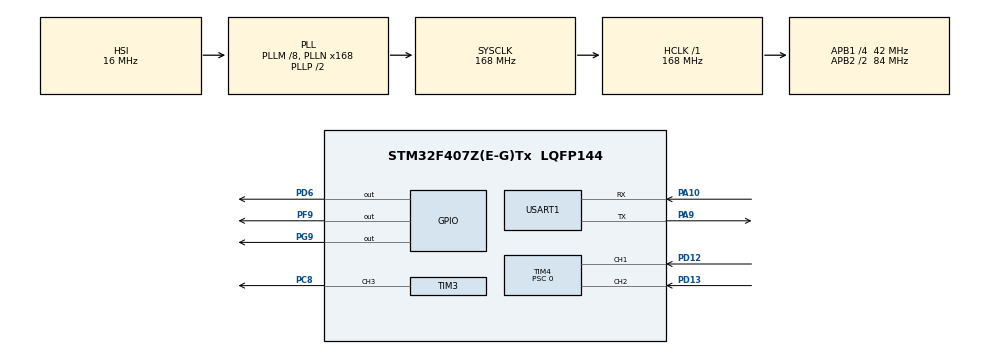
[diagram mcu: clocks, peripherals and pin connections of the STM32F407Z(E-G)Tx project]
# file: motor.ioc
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Mcu.Family=STM32F4
Mcu.Name=STM32F407Z(E-G)Tx
Mcu.Package=LQFP144
NVIC.PriorityGroup=NVIC_PRIORITYGROUP_4
NVIC.TIM2_IRQn=true\:0\:0\:false\:false\:true\:true\:true\:true
NVIC.TIM4_IRQn=true\:0\:0\:false\:false\:true\:true\:true\:true
NVIC.USART1_IRQn=true\:0\:0\:false\:false\:true\:true\:true\:true
PA10.Mode=Asynchronous
PA10.Signal=USART1_RX
PA13.Mode=Serial_Wire
PA13.Signal=SYS_JTMS-SWDIO
PA14.Mode=Serial_Wire
PA14.Signal=SYS_JTCK-SWCLK
PA9.Mode=Asynchronous
PA9.Signal=USART1_TX
PC8.Signal=S_TIM3_CH3
PD12.GPIO_Speed=GPIO_SPEED_FREQ_VERY_HIGH
PD12.Signal=S_TIM4_CH1
PD13.GPIO_Speed=GPIO_SPEED_FREQ_VERY_HIGH
PD13.Signal=S_TIM4_CH2
PD6.Signal=GPIO_Output
PF9.Signal=GPIO_Output
PG9.Signal=GPIO_Output
PH0-OSC_IN.Mode=HSE-External-Oscillator
PH0-OSC_IN.Signal=RCC_OSC_IN
PH1-OSC_OUT.Mode=HSE-External-Oscillator
PH1-OSC_OUT.Signal=RCC_OSC_OUT
ProjectManager.HeapSize=0x200
ProjectManager.StackSize=0x400
ProjectManager.TargetToolchain=MDK-ARM V5.32
RCC.48MHZClocksFreq_Value=84000000
RCC.AHBFreq_Value=168000000
RCC.APB1CLKDivider=RCC_HCLK_DIV4
RCC.APB1Freq_Value=42000000
RCC.APB1TimFreq_Value=84000000
RCC.APB2CLKDivider=RCC_HCLK_DIV2
RCC.APB2Freq_Value=84000000
RCC.APB2TimFreq_Value=168000000
RCC.CortexFreq_Value=168000000
RCC.HCLKFreq_Value=168000000
RCC.HSE_VALUE=25000000
RCC.HSI_VALUE=16000000
RCC.LSE_VALUE=32768
RCC.PLLM=8
RCC.PLLN=168
RCC.SYSCLKFreq_VALUE=168000000
RCC.SYSCLKSource=RCC_SYSCLKSOURCE_PLLCLK
RCC.VCOOutputFreq_Value=336000000
SH.S_TIM3_CH3.0=TIM3_CH3,PWM Generation3 CH3
SH.S_TIM4_CH1.0=TIM4_CH1,Encoder_Interface
SH.S_TIM4_CH2.0=TIM4_CH2,Encoder_Interface
TIM2.Period=19999
TIM2.Prescaler=83
TIM3.Channel-PWM\ Generation3\ CH3=TIM_CHANNEL_3
TIM3.Period=999
TIM3.Prescaler=167
TIM4.EncoderMode=TIM_ENCODERMODE_TI12
TIM4.IC1Filter=10
TIM4.Prescaler=0
USART1.VirtualMode=VM_ASYNC
VP_TIM2_VS_ClockSourceINT.Mode=Internal
board=custom

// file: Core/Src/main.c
/* USER CODE BEGIN Header */
/**
  ******************************************************************************
  * @file           : main.c
  * @brief          : Main program body
  ******************************************************************************
  * @attention
  *
  * Copyright (c) 2023 STMicroelectronics.
  * All rights reserved.
  *
  * This software is licensed under terms that can be found in the LICENSE file
  * in the root directory of this software component.
  * If no LICENSE file comes with this software, it is provided AS-IS.
  *
  ******************************************************************************
  */
/* USER CODE END Header */
#include "main.h"

/* USER CODE BEGIN PTD */
typedef struct _Motor
{
		int32_t Duty;   //(0-2100)  ???
    int32_t lastCount;   // ??????????
    int32_t totalCount;  // ??????????--??
    int16_t overflowNum; // ???????
    float speed;         //  ??
    uint8_t direct;      //  ??
		int16_t position;    //  ??
}Motor;
Motor motor1;
/* USER CODE END PTD */

/* USER CODE BEGIN PD */
int PID(float setValue,float realValue);

/* USER CODE END PD */

TIM_HandleTypeDef htim2;
TIM_HandleTypeDef htim3;
TIM_HandleTypeDef htim4;

UART_HandleTypeDef huart1;

/* USER CODE BEGIN PV */
uint8_t start_buffer[1] = {0xaa};
union FloatToChar {
    float floatValue;
    unsigned char charArray[4];
};

float Kp= 0.1,Ki,Kd;
float PID_buufer[2] = {0};
float test_goal=0;
float cal_rate = 0.83;
int NUM;
int a;
int RXFLAG=0;
uint8_t RXBUFFER[2]={0,0};
int32_t encoder_counter = 0;  //????
int8_t encoder_direction = 0;   //????
#define RELOADVALUE __HAL_TIM_GetAutoreload(&htim4)    //
#define COUNTERNUM __HAL_TIM_GetCounter(&htim4)  //
#define MOTOR_SPEED_RERATIO 20.4    //
#define PULSE_PRE_ROUND 11 //
/* USER CODE END PV */

void SystemClock_Config(void);
static void MX_GPIO_Init(void);
static void MX_TIM3_Init(void);
static void MX_USART1_UART_Init(void);
static void MX_TIM2_Init(void);
static void MX_TIM4_Init(void);

/* USER CODE BEGIN 0 */
void set_motor(int rot, uint8_t speed);

/* USER CODE END 0 */

int main(void)
{

  /* MCU Configuration--------------------------------------------------------*/

  /* Reset of all peripherals, Initializes the Flash interface and the Systick. */
  HAL_Init();

  /* Configure the system clock */
  SystemClock_Config();

  /* Initialize all configured peripherals */
  MX_GPIO_Init();
  MX_TIM3_Init();
  MX_USART1_UART_Init();
  MX_TIM2_Init();
  MX_TIM4_Init();
  /* USER CODE BEGIN 2 */
	HAL_TIM_PWM_Start(&htim3,TIM_CHANNEL_3);

	HAL_GPIO_WritePin(GPIOD,GPIO_PIN_6,1); //stby
	HAL_UART_Receive_IT(&huart1,(uint8_t *) RXBUFFER, 2);
	__HAL_TIM_CLEAR_IT(&htim2, TIM_IT_UPDATE);   //
	HAL_TIM_Base_Start_IT(&htim2);    //
	HAL_TIM_Base_Start_IT(&htim4);
	HAL_TIM_Encoder_Start(&htim4,TIM_CHANNEL_ALL);

  /* USER CODE END 2 */

  /* Infinite loop */
  while (1)
  {

    /* USER CODE BEGIN 3 */
		if(RXBUFFER[0]==0x00) // +
			{
				set_motor(0,RXBUFFER[1]);
			}
			else if(RXBUFFER[0]==0x01)
			{
			set_motor(1,RXBUFFER[1]);
			}

			union FloatToChar send_data_speed;
			send_data_speed.floatValue = motor1.speed;
			HAL_UART_Transmit(&huart1,start_buffer,1,50);
		  HAL_UART_Transmit(&huart1,(uint8_t *) send_data_speed.charArray,4,50);
			HAL_Delay(33);

//		  if(test_goal >= 0) set_motor(0,PID(test_goal,motor1.speed));
//			if(test_goal < 0) set_motor(1,PID(test_goal,motor1.speed));
//		HAL_Delay(50);

	 //1-999
  }
  /* USER CODE END 3 */
}

void SystemClock_Config(void)
{
  RCC_OscInitTypeDef RCC_OscInitStruct = {0};
  RCC_ClkInitTypeDef RCC_ClkInitStruct = {0};

  /** Configure the main internal regulator output voltage
  */
  __HAL_RCC_PWR_CLK_ENABLE();
  __HAL_PWR_VOLTAGESCALING_CONFIG(PWR_REGULATOR_VOLTAGE_SCALE1);

  /** Initializes the RCC Oscillators according to the specified parameters
  * in the RCC_OscInitTypeDef structure.
  */
  RCC_OscInitStruct.OscillatorType = RCC_OSCILLATORTYPE_HSI;
  RCC_OscInitStruct.HSIState = RCC_HSI_ON;
  RCC_OscInitStruct.HSICalibrationValue = RCC_HSICALIBRATION_DEFAULT;
  RCC_OscInitStruct.PLL.PLLState = RCC_PLL_ON;
  RCC_OscInitStruct.PLL.PLLSource = RCC_PLLSOURCE_HSI;
  RCC_OscInitStruct.PLL.PLLM = 8;
  RCC_OscInitStruct.PLL.PLLN = 168;
  RCC_OscInitStruct.PLL.PLLP = RCC_PLLP_DIV2;
  RCC_OscInitStruct.PLL.PLLQ = 4;
  if (HAL_RCC_OscConfig(&RCC_OscInitStruct) != HAL_OK)
  {
    Error_Handler();
  }

  /** Initializes the CPU, AHB and APB buses clocks
  */
  RCC_ClkInitStruct.ClockType = RCC_CLOCKTYPE_HCLK|RCC_CLOCKTYPE_SYSCLK
                              |RCC_CLOCKTYPE_PCLK1|RCC_CLOCKTYPE_PCLK2;
  RCC_ClkInitStruct.SYSCLKSource = RCC_SYSCLKSOURCE_PLLCLK;
  RCC_ClkInitStruct.AHBCLKDivider = RCC_SYSCLK_DIV1;
  RCC_ClkInitStruct.APB1CLKDivider = RCC_HCLK_DIV4;
  RCC_ClkInitStruct.APB2CLKDivider = RCC_HCLK_DIV2;

  if (HAL_RCC_ClockConfig(&RCC_ClkInitStruct, FLASH_LATENCY_5) != HAL_OK)
  {
    Error_Handler();
  }
}

static void MX_TIM2_Init(void)
{

  TIM_ClockConfigTypeDef sClockSourceConfig = {0};
  TIM_MasterConfigTypeDef sMasterConfig = {0};

  htim2.Instance = TIM2;
  htim2.Init.Prescaler = 83;
  htim2.Init.CounterMode = TIM_COUNTERMODE_UP;
  htim2.Init.Period = 19999;
  htim2.Init.ClockDivision = TIM_CLOCKDIVISION_DIV1;
  htim2.Init.AutoReloadPreload = TIM_AUTORELOAD_PRELOAD_DISABLE;
  if (HAL_TIM_Base_Init(&htim2) != HAL_OK)
  {
    Error_Handler();
  }
  sClockSourceConfig.ClockSource = TIM_CLOCKSOURCE_INTERNAL;
  if (HAL_TIM_ConfigClockSource(&htim2, &sClockSourceConfig) != HAL_OK)
  {
    Error_Handler();
  }
  sMasterConfig.MasterOutputTrigger = TIM_TRGO_RESET;
  sMasterConfig.MasterSlaveMode = TIM_MASTERSLAVEMODE_DISABLE;
  if (HAL_TIMEx_MasterConfigSynchronization(&htim2, &sMasterConfig) != HAL_OK)
  {
    Error_Handler();
  }

}

static void MX_TIM3_Init(void)
{

  TIM_MasterConfigTypeDef sMasterConfig = {0};
  TIM_OC_InitTypeDef sConfigOC = {0};

  htim3.Instance = TIM3;
  htim3.Init.Prescaler = 167;
  htim3.Init.CounterMode = TIM_COUNTERMODE_UP;
  htim3.Init.Period = 999;
  htim3.Init.ClockDivision = TIM_CLOCKDIVISION_DIV1;
  htim3.Init.AutoReloadPreload = TIM_AUTORELOAD_PRELOAD_DISABLE;
  if (HAL_TIM_PWM_Init(&htim3) != HAL_OK)
  {
    Error_Handler();
  }
  sMasterConfig.MasterOutputTrigger = TIM_TRGO_RESET;
  sMasterConfig.MasterSlaveMode = TIM_MASTERSLAVEMODE_DISABLE;
  if (HAL_TIMEx_MasterConfigSynchronization(&htim3, &sMasterConfig) != HAL_OK)
  {
    Error_Handler();
  }
  sConfigOC.OCMode = TIM_OCMODE_PWM1;
  sConfigOC.Pulse = 0;
  sConfigOC.OCPolarity = TIM_OCPOLARITY_HIGH;
  sConfigOC.OCFastMode = TIM_OCFAST_DISABLE;
  if (HAL_TIM_PWM_ConfigChannel(&htim3, &sConfigOC, TIM_CHANNEL_3) != HAL_OK)
  {
    Error_Handler();
  }
  HAL_TIM_MspPostInit(&htim3);

}

static void MX_TIM4_Init(void)
{

  TIM_Encoder_InitTypeDef sConfig = {0};
  TIM_MasterConfigTypeDef sMasterConfig = {0};

  htim4.Instance = TIM4;
  htim4.Init.Prescaler = 0;
  htim4.Init.CounterMode = TIM_COUNTERMODE_UP;
  htim4.Init.Period = 65535;
  htim4.Init.ClockDivision = TIM_CLOCKDIVISION_DIV1;
  htim4.Init.AutoReloadPreload = TIM_AUTORELOAD_PRELOAD_DISABLE;
  sConfig.EncoderMode = TIM_ENCODERMODE_TI12;
  sConfig.IC1Polarity = TIM_ICPOLARITY_RISING;
  sConfig.IC1Selection = TIM_ICSELECTION_DIRECTTI;
  sConfig.IC1Prescaler = TIM_ICPSC_DIV1;
  sConfig.IC1Filter = 10;
  sConfig.IC2Polarity = TIM_ICPOLARITY_RISING;
  sConfig.IC2Selection = TIM_ICSELECTION_DIRECTTI;
  sConfig.IC2Prescaler = TIM_ICPSC_DIV1;
  sConfig.IC2Filter = 0;
  if (HAL_TIM_Encoder_Init(&htim4, &sConfig) != HAL_OK)
  {
    Error_Handler();
  }
  sMasterConfig.MasterOutputTrigger = TIM_TRGO_RESET;
  sMasterConfig.MasterSlaveMode = TIM_MASTERSLAVEMODE_DISABLE;
  if (HAL_TIMEx_MasterConfigSynchronization(&htim4, &sMasterConfig) != HAL_OK)
  {
    Error_Handler();
  }

}

static void MX_USART1_UART_Init(void)
{

  huart1.Instance = USART1;
  huart1.Init.BaudRate = 115200;
  huart1.Init.WordLength = UART_WORDLENGTH_8B;
  huart1.Init.StopBits = UART_STOPBITS_1;
  huart1.Init.Parity = UART_PARITY_NONE;
  huart1.Init.Mode = UART_MODE_TX_RX;
  huart1.Init.HwFlowCtl = UART_HWCONTROL_NONE;
  huart1.Init.OverSampling = UART_OVERSAMPLING_16;
  if (HAL_UART_Init(&huart1) != HAL_OK)
  {
    Error_Handler();
  }

}

static void MX_GPIO_Init(void)
{
  GPIO_InitTypeDef GPIO_InitStruct = {0};

  /* GPIO Ports Clock Enable */
  __HAL_RCC_GPIOF_CLK_ENABLE();
  __HAL_RCC_GPIOH_CLK_ENABLE();
  __HAL_RCC_GPIOD_CLK_ENABLE();
  __HAL_RCC_GPIOC_CLK_ENABLE();
  __HAL_RCC_GPIOA_CLK_ENABLE();
  __HAL_RCC_GPIOG_CLK_ENABLE();

  /*Configure GPIO pin Output Level */
  HAL_GPIO_WritePin(GPIOF, GPIO_PIN_9, GPIO_PIN_RESET);

  /*Configure GPIO pin Output Level */
  HAL_GPIO_WritePin(GPIOD, GPIO_PIN_6, GPIO_PIN_RESET);

  /*Configure GPIO pin Output Level */
  HAL_GPIO_WritePin(GPIOG, GPIO_PIN_9, GPIO_PIN_RESET);

  /*Configure GPIO pin : PF9 */
  GPIO_InitStruct.Pin = GPIO_PIN_9;
  GPIO_InitStruct.Mode = GPIO_MODE_OUTPUT_PP;
  GPIO_InitStruct.Pull = GPIO_NOPULL;
  GPIO_InitStruct.Speed = GPIO_SPEED_FREQ_LOW;
  HAL_GPIO_Init(GPIOF, &GPIO_InitStruct);

  /*Configure GPIO pin : PD6 */
  GPIO_InitStruct.Pin = GPIO_PIN_6;
  GPIO_InitStruct.Mode = GPIO_MODE_OUTPUT_PP;
  GPIO_InitStruct.Pull = GPIO_NOPULL;
  GPIO_InitStruct.Speed = GPIO_SPEED_FREQ_LOW;
  HAL_GPIO_Init(GPIOD, &GPIO_InitStruct);

  /*Configure GPIO pin : PG9 */
  GPIO_InitStruct.Pin = GPIO_PIN_9;
  GPIO_InitStruct.Mode = GPIO_MODE_OUTPUT_PP;
  GPIO_InitStruct.Pull = GPIO_NOPULL;
  GPIO_InitStruct.Speed = GPIO_SPEED_FREQ_LOW;
  HAL_GPIO_Init(GPIOG, &GPIO_InitStruct);

}

/* USER CODE BEGIN 4 */
void set_motor(int rot, uint8_t speed) //0-200 ->  50-1050
{
	int duty = speed*5+40; //dead zone
	if(rot==1)
	{

	HAL_GPIO_WritePin(GPIOF,GPIO_PIN_9,1);
	HAL_GPIO_WritePin(GPIOG,GPIO_PIN_9,0);
	__HAL_TIM_SET_COMPARE(&htim3, TIM_CHANNEL_3,duty);
	}
	else if(rot==0)
	{

	HAL_GPIO_WritePin(GPIOF,GPIO_PIN_9,0);
	HAL_GPIO_WritePin(GPIOG,GPIO_PIN_9,1);
		__HAL_TIM_SET_COMPARE(&htim3, TIM_CHANNEL_3,duty);
	}

}

void HAL_UART_RxCpltCallback(UART_HandleTypeDef *huart)
{
	if(huart->Instance==USART1)
	{

		RXFLAG=1;
		HAL_UART_Receive_IT(&huart1, (uint8_t *)RXBUFFER, 2);
		HAL_UART_Transmit_IT(&huart1, (uint8_t *)RXBUFFER, 2);

	}
}

void HAL_TIM_PeriodElapsedCallback(TIM_HandleTypeDef *htim)//?????
{
     if(htim->Instance == htim4.Instance)   //???????
    {
			NUM = __HAL_TIM_GetCounter(&htim4);
			if(__HAL_TIM_IS_TIM_COUNTING_DOWN(&htim4)) motor1.overflowNum--;  //Down overflow
      else motor1.overflowNum++; //  Upward overflow
    }
    else if(htim->Instance == htim2.Instance)//
    {
        motor1.direct = __HAL_TIM_IS_TIM_COUNTING_DOWN(&htim4);
        motor1.totalCount = COUNTERNUM + motor1.overflowNum * RELOADVALUE;
        motor1.speed = (float)(motor1.totalCount - motor1.lastCount) / (4 * MOTOR_SPEED_RERATIO * PULSE_PRE_ROUND) * 50;
			  motor1.speed = motor1.speed*60.0*cal_rate;
//
			motor1.position = motor1.totalCount  * 6 / (4 * MOTOR_SPEED_RERATIO * PULSE_PRE_ROUND);
//motor1.position = motor1.totalCount  * 360 / (4 * MOTOR_SPEED_RERATIO * PULSE_PRE_ROUND);
        motor1.lastCount = motor1.totalCount; //
		__HAL_TIM_CLEAR_IT(&htim2, TIM_IT_UPDATE);
    }
}

int PID(float setValue,float realValue)
{
	float error = realValue-setValue;
	int countrol_val = Kp * error;
	return countrol_val;

}

//int speed_from_str(uint8_t * buffer )  //  str -48 0x31
//{
//	if(buffer[0]=='0')
//	{
//	;
//	}
//}

/* USER CODE END 4 */

void Error_Handler(void)
{
  __disable_irq();
  while (1)
  {
  }
}
